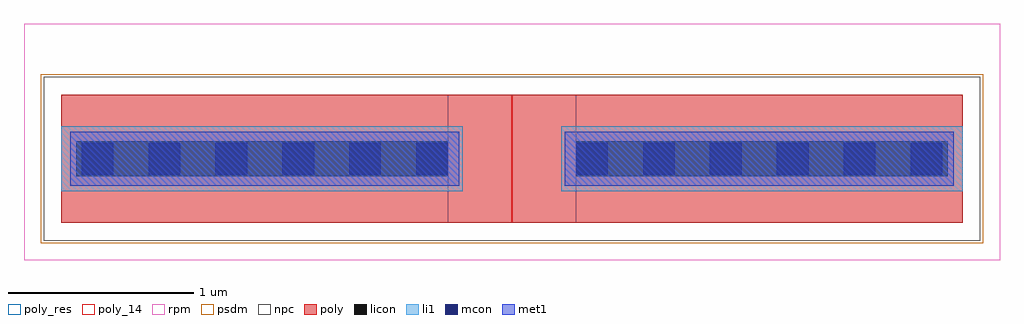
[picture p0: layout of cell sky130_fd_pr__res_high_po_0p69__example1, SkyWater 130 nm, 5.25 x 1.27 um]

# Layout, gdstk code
from math import pi, radians
import gdstk
lib = gdstk.Library(unit=1e-6, precision=1e-09)
def R(c, l, rs):  # rectangles x0, y0, x1, y1
    for r in rs: c.add(gdstk.rectangle(r[:2], r[2:], *l))
def A(c, l, x, y, w, h, nx, ny, dx, dy):  # array of equal rectangles
    R(c, l, [(x+i*dx, y+j*dy, x+i*dx+w, y+j*dy+h) for i in range(nx) for j in range(ny)])
poly_res = (66, 13)
poly_14 = (66, 14)
poly = (66, 20)
licon = (66, 44)
li1 = (67, 20)
mcon = (67, 44)
met1 = (68, 20)
rpm = (86, 20)
psdm = (94, 20)
npc = (95, 20)

sky130_fd_pr__res_high_p = lib.new_cell('sky130_fd_pr__res_high_pol1m1_0p69__example1')
R(sky130_fd_pr__res_high_p, li1, [(0,0,1.97,0.17)])
A(sky130_fd_pr__res_high_p, mcon, 0, 0, 0.17, 0.17, 6, 1, 0.36, 0)
R(sky130_fd_pr__res_high_p, met1, [(-0.06,-0.06,2.03,0.23)])

c_sky130_fd_pr__res_high_p = lib.new_cell('sky130_fd_pr__res_high_pol1_0p69__example1')
R(c_sky130_fd_pr__res_high_p, poly, [(0,0,2.16,0.35)])
R(c_sky130_fd_pr__res_high_p, licon, [(0.08,0.08,2.08,0.27)])
R(c_sky130_fd_pr__res_high_p, li1, [(0,0,2.16,0.35)])

c_sky130_fd_pr__res_high_p_ = lib.new_cell('sky130_fd_pr__res_high_po_0p69__example1')
R(c_sky130_fd_pr__res_high_p_, poly_res, [(0,0,0.69,0.69)])
R(c_sky130_fd_pr__res_high_p_, poly_14, [(0.342,0,0.348,0.69)])
R(c_sky130_fd_pr__res_high_p_, poly, [(-2.08,0,2.77,0.69)])
R(c_sky130_fd_pr__res_high_p_, li1, [(-2.08,0.17,0.08,0.52), (0.61,0.17,2.77,0.52)])
R(c_sky130_fd_pr__res_high_p_, met1, [(-2.03,0.2,0.06,0.49), (0.63,0.2,2.72,0.49)])
R(c_sky130_fd_pr__res_high_p_, rpm, [(-2.28,-0.2,2.97,1.07)])
R(c_sky130_fd_pr__res_high_p_, psdm, [(-2.19,-0.11,2.88,0.8)])
R(c_sky130_fd_pr__res_high_p_, npc, [(-2.175,-0.095,2.865,0.785)])
c_sky130_fd_pr__res_high_p_.add(gdstk.Reference(sky130_fd_pr__res_high_p, (0.69,0.26)))
c_sky130_fd_pr__res_high_p_.add(gdstk.Reference(sky130_fd_pr__res_high_p, (0,0.26), rotation=pi, x_reflection=True))
c_sky130_fd_pr__res_high_p_.add(gdstk.Reference(c_sky130_fd_pr__res_high_p, (0.61,0.17)))
c_sky130_fd_pr__res_high_p_.add(gdstk.Reference(c_sky130_fd_pr__res_high_p, (0.08,0.17), rotation=pi, x_reflection=True))

lib.write_gds('sky130_fd_pr__res_high_po_0p69__example1.gds')
